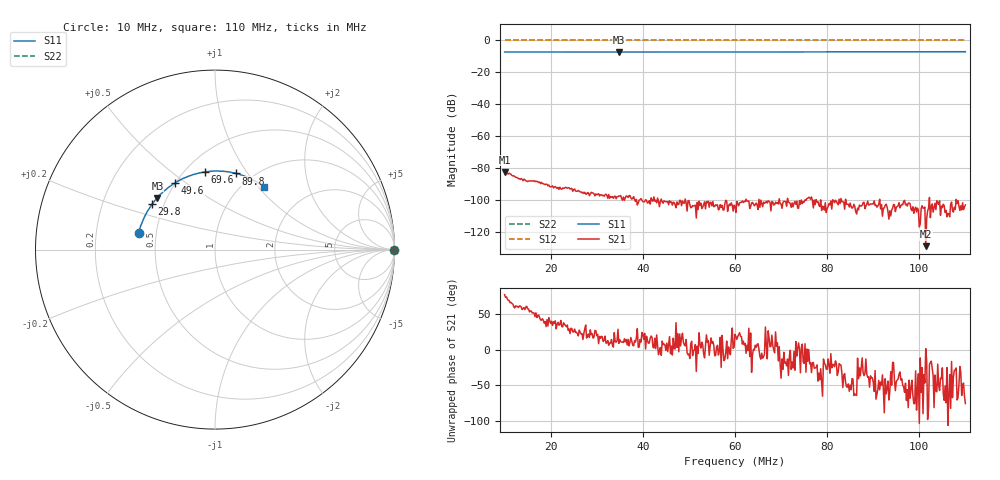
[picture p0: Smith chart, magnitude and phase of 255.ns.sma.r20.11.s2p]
! Anritsu VNA Master:  Model: MS2036C/10/77
! SN:  1601066
! /card0/usr/255.ns.sma.r20.11.s2p
! Existing Calibration Information:
! TYPE:  Current Settings,  Active Cal Settings
! TIME:  12/19/2017 07:04:12 PM,  12/19/2017 06:59:48 PM
! INTERNAL TEMP:  39.8 C,  39.3 C
! # POINTS:  501,  501
! START FREQ:  10.000 MHz,  10.000 MHz
! STOP FREQ:  110.000 MHz,  110.000 MHz
! SOURCE POWER:  High,  High
! IFBW:  100 Hz,  100 Hz
! AVG FACTOR:  1 ,  1
! REF PLANE 1:  0 mm,  0 mm
! REF PLANE 2:  0 mm,  0 mm
! CAL TYPE:  Full S11,  Full S11
! CAL METHOD:  SOLT,  SOLT
! CAL LINE TYPE:  Coax,  Coax
! DUT PORT 1:  N-Conn(F),  N-Conn(F)
! DUT PORT 2:  K-Conn(F),  K-Conn(F)
! CAL STATUS:  OK: Accuracy High,  --
# GHZ S DB R 50.0
! FREQ.GHZ  S11DB  S11A  S21DB  S21A  S12DB  S12A  S22DB  S22A
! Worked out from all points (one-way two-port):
!   501 points, 10 MHz to 110 MHz, reference 50 ohm
!   highest |S21| = -82.38 dB at 10 MHz (marker M1); lowest = -128.9 dB at 101.4 MHz (marker M2)
!   lowest |S11| = -7.3 dB at 34.8 MHz (marker M3), VSWR 2.52, Z = 22.3 + j15.8 ohm
!   |S11| at or under -10 dB: nowhere
!   |S22| runs from 0.0 to 0.0 dB; largest |S21 - S12| = 1
!   S11 on the Smith chart (normalised r, x): 10 MHz: 0.40, +0.09; 29.8 MHz: 0.43, +0.27; 49.6 MHz: 0.50, +0.46; 69.6 MHz: 0.62, +0.66; 89.8 MHz: 0.84, +0.88; 110 MHz: 1.24, +1.08
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0.01  -7.23 167.7  -82.38 78.1  0.00 0.0  0.00 0.0
0.0142  -7.24 162.6  -86.92 59.7  0.00 0.0  0.00 0.0
0.0178  -7.26 158.3  -89.77 42.3  0.00 0.0  0.00 0.0
0.0214  -7.27 153.9  -92.72 36.3  0.00 0.0  0.00 0.0
0.0268  -7.30 147.6  -95.57 22.9  0.00 0.0  0.00 0.0
0.0298  -7.28 144.1  -96.14 27.1  0.00 0.0  0.00 0.0
0.0348  -7.30 138.1  -97.42 9.1  0.00 0.0  0.00 0.0
0.0374  -7.27 135.1  -98.70 17.3  0.00 0.0  0.00 0.0
0.0434  -7.27 127.9  -100.78 -6.8  0.00 0.0  0.00 0.0
0.0474  -7.25 123.2  -101.16 3.5  0.00 0.0  0.00 0.0
0.0496  -7.28 120.8  -106.96 -4.2  0.00 0.0  0.00 0.0
0.0548  -7.24 114.6  -101.54 16.8  0.00 0.0  0.00 0.0
0.06  -7.25 108.7  -103.95 21.8  0.00 0.0  0.00 0.0
0.0628  -7.22 105.5  -100.84 -1.1  0.00 0.0  0.00 0.0
0.0696  -7.20 97.6  -99.20 4.6  0.00 0.0  0.00 0.0
0.0768  -7.17 89.4  -100.30 -18.1  0.00 0.0  0.00 0.0
0.0844  -7.14 80.8  -102.66 -52.6  0.00 0.0  0.00 0.0
0.0898  -7.13 74.6  -102.39 -39.5  0.00 0.0  0.00 0.0
0.0934  -7.12 70.6  -112.00 -70.9  0.00 0.0  0.00 0.0
0.1014  -7.08 61.5  -128.94 1.7  0.00 0.0  0.00 0.0
0.107  -7.06 55.2  -101.30 -16.5  0.00 0.0  0.00 0.0
0.11  -7.04 51.9  -103.12 -75.9  0.00 0.0  0.00 0.0
